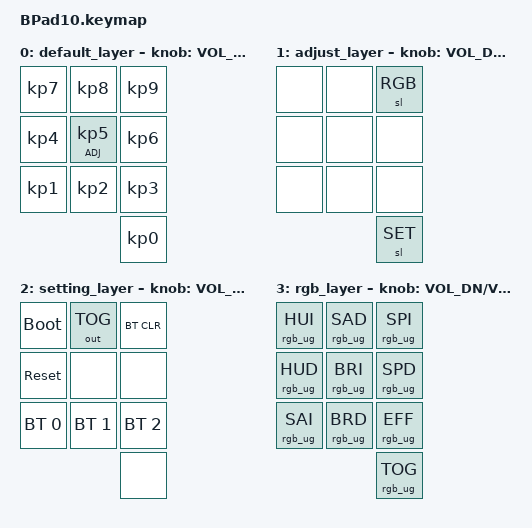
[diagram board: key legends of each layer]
#include <behaviors.dtsi>
#include <dt-bindings/zmk/keys.h>
#include <dt-bindings/zmk/bt.h>
#include <dt-bindings/zmk/outputs.h>
#include <dt-bindings/zmk/rgb.h>
#include <dt-bindings/zmk/ext_power.h>

#define DEF 0
#define ADJ 1
#define SET 2
#define RGB 3

&lt {
    tapping-term-ms = <500>;
};

/ {
    keymap {
        compatible = "zmk,keymap";

        default_layer {
bindings = <
	&kp KP_N7 &kp KP_N8     &kp KP_N9 
	&kp KP_N4 &lt ADJ KP_N5 &kp KP_N6 
	&kp KP_N1 &kp KP_N2     &kp KP_N3
					        &kp KP_N0
>;
sensor-bindings = <&inc_dec_kp C_VOL_DN C_VOL_UP>;
        }; 

		adjust_layer {
bindings = <
	&none			&none		   	&sl RGB 
	&none      		&none       	&none 
	&none      		&none       	&none
									&sl SET
>;
sensor-bindings = <&inc_dec_kp C_VOL_DN C_VOL_UP>;
        };

		setting_layer {
bindings = <
	&bootloader     &out OUT_TOG	&bt BT_CLR 
	&sys_reset      &none			&none 
	&bt BT_SEL 0    &bt BT_SEL 1  	&bt BT_SEL 2
									&none
>;
sensor-bindings = <&inc_dec_kp C_VOL_DN C_VOL_UP>;
        };

		rgb_layer {
bindings = <
	&rgb_ug RGB_HUI &rgb_ug RGB_SAD &rgb_ug RGB_SPI
	&rgb_ug RGB_HUD &rgb_ug RGB_BRI &rgb_ug RGB_SPD 
	&rgb_ug RGB_SAI &rgb_ug RGB_BRD &rgb_ug RGB_EFF
									&rgb_ug RGB_TOG
>;
sensor-bindings = <&inc_dec_kp C_VOL_DN C_VOL_UP>;
        };

    };

    combos {
        compatible = "zmk,combos";
        combo_divide {
            timeout-ms = <50>;
            key-positions = <0 1>;
            bindings = <&kp KP_DIVIDE>;
        };
		combo_multiply {
            timeout-ms = <50>;
            key-positions = <1 2>;
            bindings = <&kp KP_MULTIPLY>;
        };
		combo_minus {
            timeout-ms = <50>;
            key-positions = <2 5>;
            bindings = <&kp KP_MINUS>;
        };
		combo_plus {
            timeout-ms = <50>;
            key-positions = <5 8>;
            bindings = <&kp KP_PLUS>;
        };
		combo_dot {
            timeout-ms = <50>;
            key-positions = <7 8>;
            bindings = <&kp KP_DOT>;
        };
		combo_enter {
            timeout-ms = <50>;
            key-positions = <4 5>;
            bindings = <&kp KP_ENTER>;
        };
		combo_bspc {
            timeout-ms = <50>;
            key-positions = <6 7>;
            bindings = <&kp BSPC>;
        };
    };
};
